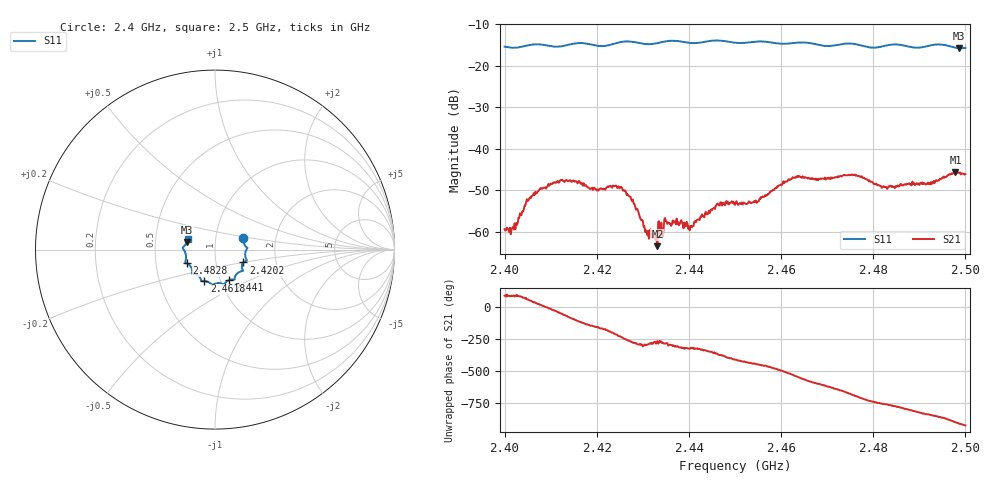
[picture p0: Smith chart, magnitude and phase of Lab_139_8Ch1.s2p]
# Hz S RI R 50
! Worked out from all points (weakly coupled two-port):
!   601 points, 2.4 GHz to 2.5 GHz, reference 50 ohm
!   highest |S21| = -45.61 dB at 2.4978 GHz (marker M1); lowest = -63.5 dB at 2.4332 GHz (marker M2)
!   lowest |S11| = -15.8 dB at 2.4987 GHz (marker M3), VSWR 1.39, Z = 36.3 + j3.16 ohm
!   |S11| at or under -10 dB: start of sweep to end of sweep
!   S12 and S22 are empty: the file has one direction only
!   S11 on the Smith chart (normalised r, x): 2.4 GHz: 1.36, +0.17; 2.4202 GHz: 1.36, -0.20; 2.441 GHz: 1.10, -0.39; 2.4618 GHz: 0.84, -0.30; 2.4828 GHz: 0.72, -0.11; 2.5 GHz: 0.73, +0.09
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2.4e9  0.1578 0.0623  8.33e-06 0.00107  0 0  0 0
2.401833e9  0.1591 0.0405  3.84e-05 0.00114  0 0  0 0
2.405e9  0.1752 0.0141  0.00124 0.00202  0 0  0 0
2.408e9  0.1796 0.00662  0.00317 0.000903  0 0  0 0
2.416667e9  0.1773 -0.0604  -0.00173 -0.00331  0 0  0 0
2.420167e9  0.158 -0.0715  -0.0029 -0.00143  0 0  0 0
2.425667e9  0.1558 -0.1166  -0.00158 0.0027  0 0  0 0
2.431e9  0.1263 -0.1305  0.000356 0.000832  0 0  0 0
2.433167e9  0.1122 -0.1497  -5.86e-05 0.000668  0 0  0 0
2.433333e9  0.1116 -0.1511  0.000328 0.00127  0 0  0 0
2.435167e9  0.1096 -0.1638  0.000268 0.0013  0 0  0 0
2.441e9  0.078 -0.1699  0.000977 0.000663  0 0  0 0
2.45e9  0.0281 -0.1871  0.00135 -0.00162  0 0  0 0
2.454667e9  -0.0107 -0.1948  0.000204 -0.00223  0 0  0 0
2.461833e9  -0.0598 -0.1756  -0.00389 -0.00159  0 0  0 0
2.466667e9  -0.0785 -0.168  -0.00307 0.00302  0 0  0 0
2.475833e9  -0.1275 -0.1315  0.00411 0.00264  0 0  0 0
2.482833e9  -0.1575 -0.0766  0.00279 -0.00206  0 0  0 0
2.483333e9  -0.1605 -0.0752  0.00249 -0.00236  0 0  0 0
2.497833e9  -0.1618 0.0323  -0.00524 -0.000281  0 0  0 0
2.498667e9  -0.1567 0.0424  -0.00503 0.00083  0 0  0 0
2.5e9  -0.1523 0.0616  -0.00455 0.00189  0 0  0 0
